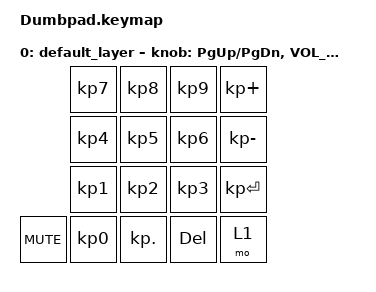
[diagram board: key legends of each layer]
/*
 * Copyright (c) 2020 The ZMK Contributors
 *
 * SPDX-License-Identifier: MIT
 */

 #include <behaviors.dtsi>
 #include <dt-bindings/zmk/bt.h>
 #include <dt-bindings/zmk/keys.h>
 
 / {
     keymap {
         compatible = "zmk,keymap";
 
         default_layer {
 // --------------------------
 // | 7      |  8  |  9      |
 // | 4      |  5  |  6      |
 // | 1      |  2  |  3      |
 // | M_PLAY |  0  |  MO(1)  |
 // --------------------------
             bindings = <
                                &kp KP_N7    &kp KP_N8       &kp KP_N9      &kp KP_PLUS   
                                &kp KP_N4    &kp KP_N5       &kp KP_N6      &kp KP_MINUS
                                &kp KP_N1    &kp KP_N2       &kp KP_N3      &kp KP_ENTER
                &kp C_MUTE      &kp KP_N0    &kp KP_DOT      &kp DEL        &mo 1
            >;
            sensor-bindings = <&inc_dec_kp PG_UP PG_DN &inc_dec_kp C_VOL_UP C_VOL_DN>;

        }; 
     };
 };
